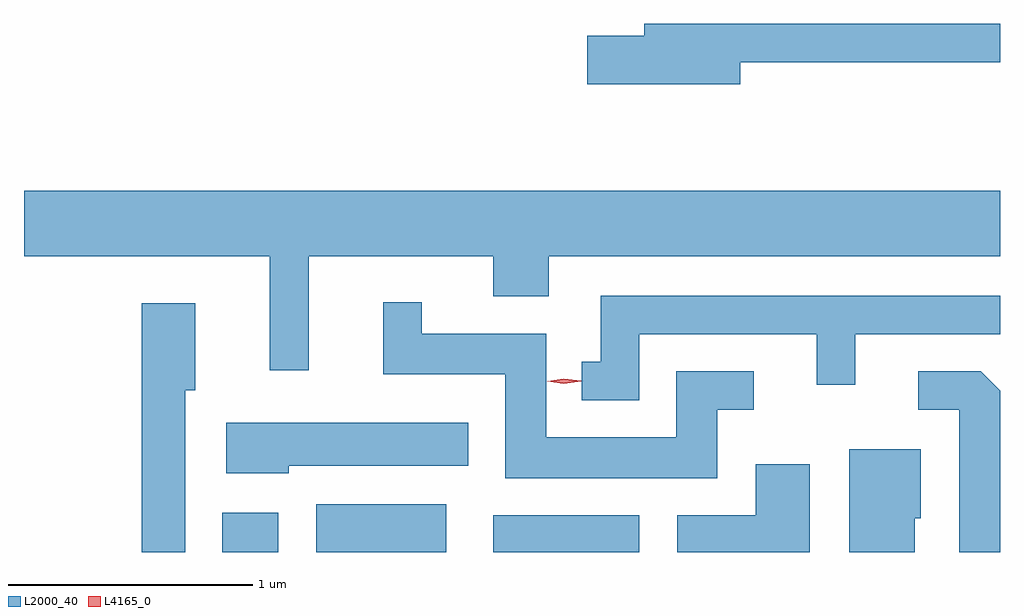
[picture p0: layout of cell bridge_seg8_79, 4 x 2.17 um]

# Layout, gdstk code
import gdstk
lib = gdstk.Library(unit=1e-6, precision=1e-09)
def R(c, l, rs):  # rectangles x0, y0, x1, y1
    for r in rs: c.add(gdstk.rectangle(r[:2], r[2:], *l))
def P(c, l, *ps):  # polygons
    for p in ps: c.add(gdstk.Polygon(p, *l))
L2000_40 = (2000, 40)
L4165_0 = (4165, 0)

bridge_seg8_79 = lib.new_cell('bridge_seg8_79')
R(bridge_seg8_79, L2000_40, [(1619.401,1806.342,1619.629,1806.504), (1619.786,1806.342,1620.319,1806.539), (1620.511,1806.342,1621.109,1806.494)])
P(bridge_seg8_79, L2000_40, [(1621.524,1808.351),(1622.588,1808.351),(1622.588,1808.509),(1621.131,1808.509),(1621.131,1808.459),(1620.896,1808.459),(1620.896,1808.261),(1621.524,1808.261)],
  [(1619.754,1807.556),(1620.511,1807.556),(1620.511,1807.391),(1620.739,1807.391),(1620.739,1807.556),(1622.588,1807.556),(1622.588,1807.824),(1618.588,1807.824),(1618.588,1807.556),(1619.596,1807.556),(1619.596,1807.088),(1619.754,1807.088)],
  [(1621.109,1807.236),(1621.836,1807.236),(1621.836,1807.028),(1621.994,1807.028),(1621.994,1807.236),(1622.588,1807.236),(1622.588,1807.394),(1620.951,1807.394),(1620.951,1807.124),(1620.873,1807.124),(1620.873,1806.966),(1621.109,1806.966)],
  [(1621.429,1806.926),(1621.578,1806.926),(1621.578,1807.084),(1621.261,1807.084),(1621.261,1806.814),(1620.729,1806.814),(1620.729,1807.239),(1620.219,1807.239),(1620.219,1807.368),(1620.061,1807.368),(1620.061,1807.071),(1620.561,1807.071),(1620.561,1806.646),(1621.429,1806.646)],
  [(1619.249,1807.006),(1619.289,1807.006),(1619.289,1807.364),(1619.071,1807.364),(1619.071,1806.342),(1619.249,1806.342)],
  [(1622.588,1807.005),(1622.509,1807.084),(1622.253,1807.084),(1622.253,1806.926),(1622.421,1806.926),(1622.421,1806.342),(1622.588,1806.342)],
  [(1619.674,1806.696),(1620.409,1806.696),(1620.409,1806.874),(1619.416,1806.874),(1619.416,1806.666),(1619.674,1806.666)],
  [(1622.239,1806.481),(1622.264,1806.481),(1622.264,1806.764),(1621.971,1806.764),(1621.971,1806.342),(1622.239,1806.342)],
  [(1621.809,1806.704),(1621.586,1806.704),(1621.586,1806.494),(1621.266,1806.494),(1621.266,1806.342),(1621.809,1806.342)])
P(bridge_seg8_79, L4165_0, [(1620.801,1807.034),(1620.732,1807.043),(1620.732,1807.044),(1620.732,1807.044),(1620.801,1807.054),(1620.871,1807.045),(1620.871,1807.045),(1620.871,1807.044)])

lib.write_gds('bridge_seg8_79.gds')
